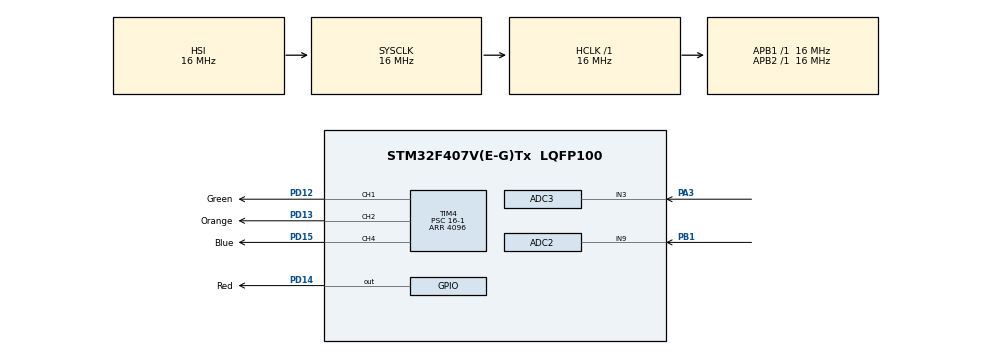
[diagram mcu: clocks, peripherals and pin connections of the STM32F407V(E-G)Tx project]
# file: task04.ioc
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ADC1.Channel-0\#ChannelRegularConversion=ADC_CHANNEL_TEMPSENSOR
ADC1.ClockPrescaler=ADC_CLOCK_SYNC_PCLK_DIV8
ADC1.ContinuousConvMode=ENABLE
ADC1.InjNumberOfConversion=0
ADC1.NbrOfConversion=1
ADC1.NbrOfConversionFlag=1
ADC1.Rank-0\#ChannelRegularConversion=1
ADC1.SamplingTime-0\#ChannelRegularConversion=ADC_SAMPLETIME_480CYCLES
ADC1.ScanConvMode=DISABLE
ADC1.master=1
ADC2.Channel-1\#ChannelRegularConversion=ADC_CHANNEL_9
ADC2.ClockPrescaler=ADC_CLOCK_SYNC_PCLK_DIV8
ADC2.ContinuousConvMode=ENABLE
ADC2.NbrOfConversionFlag=1
ADC2.Rank-1\#ChannelRegularConversion=1
ADC2.SamplingTime-1\#ChannelRegularConversion=ADC_SAMPLETIME_480CYCLES
ADC3.Channel-0\#ChannelRegularConversion=ADC_CHANNEL_3
ADC3.ClockPrescaler=ADC_CLOCK_SYNC_PCLK_DIV8
ADC3.ContinuousConvMode=ENABLE
ADC3.NbrOfConversionFlag=1
ADC3.Rank-0\#ChannelRegularConversion=1
ADC3.SamplingTime-0\#ChannelRegularConversion=ADC_SAMPLETIME_480CYCLES
Mcu.Family=STM32F4
Mcu.Name=STM32F407V(E-G)Tx
Mcu.Package=LQFP100
NVIC.PriorityGroup=NVIC_PRIORITYGROUP_4
NVIC.TIM3_IRQn=true\:0\:0\:false\:false\:true\:true\:true\:true
PA3.Signal=ADCx_IN3
PB1.Signal=ADCx_IN9
PD12.GPIO_Label=Green
PD12.Signal=S_TIM4_CH1
PD13.GPIO_Label=Orange
PD13.Signal=S_TIM4_CH2
PD14.GPIO_Label=Red
PD14.Signal=GPIO_Output
PD15.GPIO_Label=Blue
PD15.Signal=S_TIM4_CH4
PH0-OSC_IN.Mode=HSE-External-Oscillator
PH0-OSC_IN.Signal=RCC_OSC_IN
PH1-OSC_OUT.Mode=HSE-External-Oscillator
PH1-OSC_OUT.Signal=RCC_OSC_OUT
ProjectManager.HeapSize=0x200
ProjectManager.StackSize=0x400
ProjectManager.TargetToolchain=STM32CubeIDE
RCC.AHBFreq_Value=16000000
RCC.APB1Freq_Value=16000000
RCC.APB2Freq_Value=16000000
RCC.APB2TimFreq_Value=16000000
RCC.CortexFreq_Value=16000000
RCC.HSE_VALUE=8000000
RCC.HSI_VALUE=16000000
RCC.LSE_VALUE=32768
RCC.SYSCLKFreq_VALUE=16000000
RCC.VCOOutputFreq_Value=192000000
SH.ADCx_IN3.0=ADC3_IN3,IN3
SH.ADCx_IN9.0=ADC2_IN9,IN9
SH.S_TIM4_CH1.0=TIM4_CH1,PWM Generation1 CH1
SH.S_TIM4_CH2.0=TIM4_CH2,PWM Generation2 CH2
SH.S_TIM4_CH4.0=TIM4_CH4,PWM Generation4 CH4
TIM3.AutoReloadPreload=TIM_AUTORELOAD_PRELOAD_ENABLE
TIM3.Period=500
TIM3.Prescaler=16000
TIM4.Channel-PWM\ Generation1\ CH1=TIM_CHANNEL_1
TIM4.Channel-PWM\ Generation2\ CH2=TIM_CHANNEL_2
TIM4.Channel-PWM\ Generation4\ CH4=TIM_CHANNEL_4
TIM4.OCMode_PWM-PWM\ Generation1\ CH1=TIM_OCMODE_PWM2
TIM4.Period=4096
TIM4.Prescaler=16-1
VP_ADC1_TempSens_Input.Mode=IN-TempSens
VP_TIM3_VS_ClockSourceINT.Mode=Internal
VP_TIM4_VS_ClockSourceINT.Mode=Internal
board=custom

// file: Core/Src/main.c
/* USER CODE BEGIN Header */
/**
  ******************************************************************************
  * @file           : main.c
  * @brief          : Main program body
  ******************************************************************************
  * @attention
  *
  * Copyright (c) 2023 STMicroelectronics.
  * All rights reserved.
  *
  * This software is licensed under terms that can be found in the LICENSE file
  * in the root directory of this software component.
  * If no LICENSE file comes with this software, it is provided AS-IS.
  *
  ******************************************************************************
  */
/* USER CODE END Header */
#include "main.h"

ADC_HandleTypeDef hadc1;
ADC_HandleTypeDef hadc2;
ADC_HandleTypeDef hadc3;

TIM_HandleTypeDef htim3;
TIM_HandleTypeDef htim4;

/* USER CODE BEGIN PV */

const uint32_t DEFAULT_POTENTIOMETER_VALUE = 0;
const uint32_t DEFAULT_INNER_TEMP_VALUE = 1040;
const uint32_t DEFAULT_EXTERN_TEMP_VALUE = 2150;

const uint32_t CRITICAL_POTENTIOMETER_VALUE = 2800;
const uint32_t CRITICAL_INNER_TEMP_VALUE = 1120;
const uint32_t CRITICAL_EXTERN_TEMP_VALUE = 1000;

uint8_t flag = 0;

/* USER CODE END PV */

void SystemClock_Config(void);
static void MX_GPIO_Init(void);
static void MX_ADC1_Init(void);
static void MX_TIM4_Init(void);
static void MX_ADC2_Init(void);
static void MX_ADC3_Init(void);
static void MX_TIM3_Init(void);
/* USER CODE BEGIN PFP */

static uint32_t useHysteresis(uint32_t input_signal, uint32_t output_signal, uint32_t hysteresis);
static void changeRedLedBlinking(uint32_t innerTemp_Value, uint32_t extTemp_Value, uint32_t potent_Value);
static void getADCValue(ADC_HandleTypeDef* hadc, uint32_t* adc_Value);

/* USER CODE END PFP */

int main(void)
{

  /* MCU Configuration--------------------------------------------------------*/

  /* Reset of all peripherals, Initializes the Flash interface and the Systick. */
  HAL_Init();

  /* Configure the system clock */
  SystemClock_Config();

  /* Initialize all configured peripherals */
  MX_GPIO_Init();
  MX_ADC1_Init();
  MX_TIM4_Init();
  MX_ADC2_Init();
  MX_ADC3_Init();
  MX_TIM3_Init();

  /* Infinite loop */
  /* USER CODE BEGIN WHILE */
  uint32_t potent_Value3 = 0;
  uint32_t extTemp_Value2 = 0;
  uint32_t innerTemp_Value1 = 0;

  uint32_t potent_Value3_output = 0;
  uint32_t extTemp_Value2_output  = 0;
  uint32_t innerTemp_Value1_output  = 0;

  //volatile HAL_StatusTypeDef adcPoolResult;

  HAL_TIM_PWM_Start(&htim4, TIM_CHANNEL_1);
  HAL_TIM_PWM_Start(&htim4, TIM_CHANNEL_2);
  HAL_TIM_PWM_Start(&htim4, TIM_CHANNEL_4);

  HAL_TIM_Base_Start_IT(&htim3);

  TIM4->ARR = 4096;
  TIM4->CCR1 = 0;
  TIM4->CCR2 = 0;
  TIM4->CCR4 = 0;

  while (1)
  {
    /* USER CODE END WHILE */

    /* USER CODE BEGIN 3 */

	//inner_temp
	getADCValue(&hadc1, &innerTemp_Value1);
	TIM4->CCR2 = innerTemp_Value1;//4096 - innerTemp_Value1;

	//exter_temp
	getADCValue(&hadc2, &extTemp_Value2);
	TIM4->CCR1 = extTemp_Value2;

	//potentiometer
	getADCValue(&hadc3, &potent_Value3);
	TIM4->CCR4 = potent_Value3;

	//hysteresis
	innerTemp_Value1_output = useHysteresis(innerTemp_Value1, innerTemp_Value1_output, 10);
	extTemp_Value2_output = useHysteresis(extTemp_Value2, extTemp_Value2_output, 10);
	potent_Value3_output = useHysteresis(potent_Value3, potent_Value3_output, 50);

	changeRedLedBlinking(innerTemp_Value1_output, extTemp_Value2_output, potent_Value3_output);

  }
  /* USER CODE END 3 */
}

void SystemClock_Config(void)
{
  RCC_OscInitTypeDef RCC_OscInitStruct = {0};
  RCC_ClkInitTypeDef RCC_ClkInitStruct = {0};

  /** Configure the main internal regulator output voltage
  */
  __HAL_RCC_PWR_CLK_ENABLE();
  __HAL_PWR_VOLTAGESCALING_CONFIG(PWR_REGULATOR_VOLTAGE_SCALE1);

  /** Initializes the RCC Oscillators according to the specified parameters
  * in the RCC_OscInitTypeDef structure.
  */
  RCC_OscInitStruct.OscillatorType = RCC_OSCILLATORTYPE_HSI;
  RCC_OscInitStruct.HSIState = RCC_HSI_ON;
  RCC_OscInitStruct.HSICalibrationValue = RCC_HSICALIBRATION_DEFAULT;
  RCC_OscInitStruct.PLL.PLLState = RCC_PLL_NONE;
  if (HAL_RCC_OscConfig(&RCC_OscInitStruct) != HAL_OK)
  {
    Error_Handler();
  }

  /** Initializes the CPU, AHB and APB buses clocks
  */
  RCC_ClkInitStruct.ClockType = RCC_CLOCKTYPE_HCLK|RCC_CLOCKTYPE_SYSCLK
                              |RCC_CLOCKTYPE_PCLK1|RCC_CLOCKTYPE_PCLK2;
  RCC_ClkInitStruct.SYSCLKSource = RCC_SYSCLKSOURCE_HSI;
  RCC_ClkInitStruct.AHBCLKDivider = RCC_SYSCLK_DIV1;
  RCC_ClkInitStruct.APB1CLKDivider = RCC_HCLK_DIV1;
  RCC_ClkInitStruct.APB2CLKDivider = RCC_HCLK_DIV1;

  if (HAL_RCC_ClockConfig(&RCC_ClkInitStruct, FLASH_LATENCY_0) != HAL_OK)
  {
    Error_Handler();
  }
}

static void MX_ADC1_Init(void)
{

  ADC_ChannelConfTypeDef sConfig = {0};

  /** Configure the global features of the ADC (Clock, Resolution, Data Alignment and number of conversion)
  */
  hadc1.Instance = ADC1;
  hadc1.Init.ClockPrescaler = ADC_CLOCK_SYNC_PCLK_DIV8;
  hadc1.Init.Resolution = ADC_RESOLUTION_12B;
  hadc1.Init.ScanConvMode = DISABLE;
  hadc1.Init.ContinuousConvMode = ENABLE;
  hadc1.Init.DiscontinuousConvMode = DISABLE;
  hadc1.Init.ExternalTrigConvEdge = ADC_EXTERNALTRIGCONVEDGE_NONE;
  hadc1.Init.ExternalTrigConv = ADC_SOFTWARE_START;
  hadc1.Init.DataAlign = ADC_DATAALIGN_RIGHT;
  hadc1.Init.NbrOfConversion = 1;
  hadc1.Init.DMAContinuousRequests = DISABLE;
  hadc1.Init.EOCSelection = ADC_EOC_SINGLE_CONV;
  if (HAL_ADC_Init(&hadc1) != HAL_OK)
  {
    Error_Handler();
  }

  /** Configure for the selected ADC regular channel its corresponding rank in the sequencer and its sample time.
  */
  sConfig.Channel = ADC_CHANNEL_TEMPSENSOR;
  sConfig.Rank = 1;
  sConfig.SamplingTime = ADC_SAMPLETIME_480CYCLES;
  if (HAL_ADC_ConfigChannel(&hadc1, &sConfig) != HAL_OK)
  {
    Error_Handler();
  }

}

static void MX_ADC2_Init(void)
{

  ADC_ChannelConfTypeDef sConfig = {0};

  /** Configure the global features of the ADC (Clock, Resolution, Data Alignment and number of conversion)
  */
  hadc2.Instance = ADC2;
  hadc2.Init.ClockPrescaler = ADC_CLOCK_SYNC_PCLK_DIV8;
  hadc2.Init.Resolution = ADC_RESOLUTION_12B;
  hadc2.Init.ScanConvMode = DISABLE;
  hadc2.Init.ContinuousConvMode = ENABLE;
  hadc2.Init.DiscontinuousConvMode = DISABLE;
  hadc2.Init.ExternalTrigConvEdge = ADC_EXTERNALTRIGCONVEDGE_NONE;
  hadc2.Init.ExternalTrigConv = ADC_SOFTWARE_START;
  hadc2.Init.DataAlign = ADC_DATAALIGN_RIGHT;
  hadc2.Init.NbrOfConversion = 1;
  hadc2.Init.DMAContinuousRequests = DISABLE;
  hadc2.Init.EOCSelection = ADC_EOC_SINGLE_CONV;
  if (HAL_ADC_Init(&hadc2) != HAL_OK)
  {
    Error_Handler();
  }

  /** Configure for the selected ADC regular channel its corresponding rank in the sequencer and its sample time.
  */
  sConfig.Channel = ADC_CHANNEL_9;
  sConfig.Rank = 1;
  sConfig.SamplingTime = ADC_SAMPLETIME_480CYCLES;
  if (HAL_ADC_ConfigChannel(&hadc2, &sConfig) != HAL_OK)
  {
    Error_Handler();
  }

}

static void MX_ADC3_Init(void)
{

  ADC_ChannelConfTypeDef sConfig = {0};

  /** Configure the global features of the ADC (Clock, Resolution, Data Alignment and number of conversion)
  */
  hadc3.Instance = ADC3;
  hadc3.Init.ClockPrescaler = ADC_CLOCK_SYNC_PCLK_DIV8;
  hadc3.Init.Resolution = ADC_RESOLUTION_12B;
  hadc3.Init.ScanConvMode = DISABLE;
  hadc3.Init.ContinuousConvMode = ENABLE;
  hadc3.Init.DiscontinuousConvMode = DISABLE;
  hadc3.Init.ExternalTrigConvEdge = ADC_EXTERNALTRIGCONVEDGE_NONE;
  hadc3.Init.ExternalTrigConv = ADC_SOFTWARE_START;
  hadc3.Init.DataAlign = ADC_DATAALIGN_RIGHT;
  hadc3.Init.NbrOfConversion = 1;
  hadc3.Init.DMAContinuousRequests = DISABLE;
  hadc3.Init.EOCSelection = ADC_EOC_SINGLE_CONV;
  if (HAL_ADC_Init(&hadc3) != HAL_OK)
  {
    Error_Handler();
  }

  /** Configure for the selected ADC regular channel its corresponding rank in the sequencer and its sample time.
  */
  sConfig.Channel = ADC_CHANNEL_3;
  sConfig.Rank = 1;
  sConfig.SamplingTime = ADC_SAMPLETIME_480CYCLES;
  if (HAL_ADC_ConfigChannel(&hadc3, &sConfig) != HAL_OK)
  {
    Error_Handler();
  }

}

static void MX_TIM3_Init(void)
{

  TIM_ClockConfigTypeDef sClockSourceConfig = {0};
  TIM_MasterConfigTypeDef sMasterConfig = {0};

  htim3.Instance = TIM3;
  htim3.Init.Prescaler = 16000;
  htim3.Init.CounterMode = TIM_COUNTERMODE_UP;
  htim3.Init.Period = 500;
  htim3.Init.ClockDivision = TIM_CLOCKDIVISION_DIV1;
  htim3.Init.AutoReloadPreload = TIM_AUTORELOAD_PRELOAD_ENABLE;
  if (HAL_TIM_Base_Init(&htim3) != HAL_OK)
  {
    Error_Handler();
  }
  sClockSourceConfig.ClockSource = TIM_CLOCKSOURCE_INTERNAL;
  if (HAL_TIM_ConfigClockSource(&htim3, &sClockSourceConfig) != HAL_OK)
  {
    Error_Handler();
  }
  sMasterConfig.MasterOutputTrigger = TIM_TRGO_RESET;
  sMasterConfig.MasterSlaveMode = TIM_MASTERSLAVEMODE_DISABLE;
  if (HAL_TIMEx_MasterConfigSynchronization(&htim3, &sMasterConfig) != HAL_OK)
  {
    Error_Handler();
  }

}

static void MX_TIM4_Init(void)
{

  TIM_ClockConfigTypeDef sClockSourceConfig = {0};
  TIM_MasterConfigTypeDef sMasterConfig = {0};
  TIM_OC_InitTypeDef sConfigOC = {0};

  htim4.Instance = TIM4;
  htim4.Init.Prescaler = 16-1;
  htim4.Init.CounterMode = TIM_COUNTERMODE_UP;
  htim4.Init.Period = 4096;
  htim4.Init.ClockDivision = TIM_CLOCKDIVISION_DIV1;
  htim4.Init.AutoReloadPreload = TIM_AUTORELOAD_PRELOAD_DISABLE;
  if (HAL_TIM_Base_Init(&htim4) != HAL_OK)
  {
    Error_Handler();
  }
  sClockSourceConfig.ClockSource = TIM_CLOCKSOURCE_INTERNAL;
  if (HAL_TIM_ConfigClockSource(&htim4, &sClockSourceConfig) != HAL_OK)
  {
    Error_Handler();
  }
  if (HAL_TIM_PWM_Init(&htim4) != HAL_OK)
  {
    Error_Handler();
  }
  sMasterConfig.MasterOutputTrigger = TIM_TRGO_RESET;
  sMasterConfig.MasterSlaveMode = TIM_MASTERSLAVEMODE_DISABLE;
  if (HAL_TIMEx_MasterConfigSynchronization(&htim4, &sMasterConfig) != HAL_OK)
  {
    Error_Handler();
  }
  sConfigOC.OCMode = TIM_OCMODE_PWM2;
  sConfigOC.Pulse = 0;
  sConfigOC.OCPolarity = TIM_OCPOLARITY_HIGH;
  sConfigOC.OCFastMode = TIM_OCFAST_DISABLE;
  if (HAL_TIM_PWM_ConfigChannel(&htim4, &sConfigOC, TIM_CHANNEL_1) != HAL_OK)
  {
    Error_Handler();
  }
  sConfigOC.OCMode = TIM_OCMODE_PWM1;
  if (HAL_TIM_PWM_ConfigChannel(&htim4, &sConfigOC, TIM_CHANNEL_2) != HAL_OK)
  {
    Error_Handler();
  }
  if (HAL_TIM_PWM_ConfigChannel(&htim4, &sConfigOC, TIM_CHANNEL_4) != HAL_OK)
  {
    Error_Handler();
  }
  HAL_TIM_MspPostInit(&htim4);

}

static void MX_GPIO_Init(void)
{
  GPIO_InitTypeDef GPIO_InitStruct = {0};

  /* GPIO Ports Clock Enable */
  __HAL_RCC_GPIOH_CLK_ENABLE();
  __HAL_RCC_GPIOA_CLK_ENABLE();
  __HAL_RCC_GPIOB_CLK_ENABLE();
  __HAL_RCC_GPIOD_CLK_ENABLE();

  /*Configure GPIO pin Output Level */
  HAL_GPIO_WritePin(Red_GPIO_Port, Red_Pin, GPIO_PIN_RESET);

  /*Configure GPIO pin : Red_Pin */
  GPIO_InitStruct.Pin = Red_Pin;
  GPIO_InitStruct.Mode = GPIO_MODE_OUTPUT_PP;
  GPIO_InitStruct.Pull = GPIO_NOPULL;
  GPIO_InitStruct.Speed = GPIO_SPEED_FREQ_LOW;
  HAL_GPIO_Init(Red_GPIO_Port, &GPIO_InitStruct);

}

/* USER CODE BEGIN 4 */

void getADCValue(ADC_HandleTypeDef* hadc, uint32_t* adc_Value)
{
	volatile HAL_StatusTypeDef adcPoolResult;

	HAL_ADC_Start(hadc);
	adcPoolResult = HAL_ADC_PollForConversion(hadc, 1);

	if (adcPoolResult == HAL_OK)
	{
		*adc_Value = HAL_ADC_GetValue(hadc);
	}
	HAL_ADC_Stop(hadc);
}

uint32_t useHysteresis(uint32_t input_signal, uint32_t output_signal, uint32_t hysteresis)
{
    if (input_signal > output_signal + hysteresis)
    {
        output_signal = input_signal - hysteresis;
    }
    else if (input_signal < output_signal - hysteresis)
    {
        output_signal = input_signal + hysteresis;
    }
    return output_signal;
}

void changeRedLedBlinking(uint32_t innerTemp_Value, uint32_t extTemp_Value, uint32_t potent_Value)
{
	flag = 0;

	if (innerTemp_Value > CRITICAL_INNER_TEMP_VALUE)
	{
		++flag;
	}
	if (extTemp_Value < CRITICAL_EXTERN_TEMP_VALUE)
	{
		++flag;
	}
	if (potent_Value > CRITICAL_POTENTIOMETER_VALUE)
	{
		++flag;
	}

	switch (flag)
	{
		case 0:
			HAL_TIM_Base_Stop_IT(&htim3);
			HAL_GPIO_WritePin(Red_GPIO_Port, Red_Pin, GPIO_PIN_RESET);
			break;
		case 1:
			TIM3->ARR = 500-1; // 1 Hz
			break;
		case 2:
			TIM3->ARR = 200-1; // 2.5 Hz
			break;
		case 3:
			TIM3->ARR = 100-1; // 5 Hz
			break;
		default:
			//error_number++;
			break;
	}

	if (flag != 0)
	{
		HAL_TIM_Base_Start_IT(&htim3);
	}

}

/* USER CODE END 4 */

void Error_Handler(void)
{
  __disable_irq();
  while (1)
  {
  }
}
